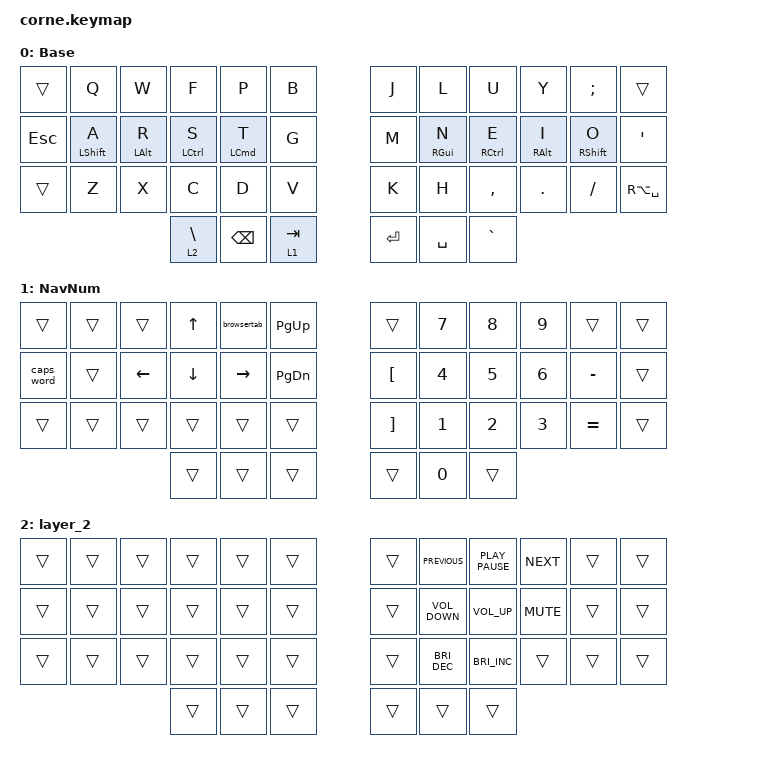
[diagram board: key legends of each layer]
#include <behaviors.dtsi>
#include <dt-bindings/zmk/keys.h>

#define DEF 0
#define NAV 1
#define SYM 2
#define ADJ 3
#define EXTRA 4

/ {
    behaviors {
        hm: homerow_mods {
            compatible = "zmk,behavior-hold-tap";
            #binding-cells = <2>;
            tapping-term-ms = <200>;
            flavor = "tap-preferred";
            bindings = <&kp>, <&kp>;

            quick-tap-ms = <180>;
            require-prior-idle-ms = <120>; /* tune to taste */
        };

        para: para {
            compatible = "zmk,behavior-tap-dance";
            #binding-cells = <0>;
            bindings = <&kp LEFT_PARENTHESIS>, <&kp RIGHT_PARENTHESIS>;
        };

        caps: caps {
            compatible = "zmk,behavior-caps-word";
            #binding-cells = <0>;
            continue-list = <MINUS BACKSPACE>;
        };

        paraless: paraless {
            compatible = "zmk,behavior-mod-morph";
            bindings = <&kp LEFT_PARENTHESIS>, <&kp LESS_THAN>;

            #binding-cells = <0>;
            mods = <(MOD_LSFT)>;
        };

        paragreat: paragreat {
            compatible = "zmk,behavior-mod-morph";
            bindings = <&kp RIGHT_PARENTHESIS>, <&kp GREATER_THAN>;

            #binding-cells = <0>;
            mods = <(MOD_LSFT)>;
        };
    };

    macros {
        browsertab: browsertab {
            compatible = "zmk,behavior-macro";
            #binding-cells = <0>;
            bindings =
                <&macro_press>,
                <&kp LCTRL>,
                <&macro_tap>,
                <&kp TAB>,
                <&macro_release>,
                <&kp LCTRL>;
        };

        zellij_tab_left: zellij_tab_left {
            compatible = "zmk,behavior-macro";
            #binding-cells = <0>;
            bindings =
                <&macro_press>,
                <&kp LC(SPACE)>,
                <&macro_tap>,
                <&kp H>,
                <&macro_release>;

            label = "ZELLIJ_TAB_LEFT";
        };

        zellij_tab_right: zellij_tab_right {
            compatible = "zmk,behavior-macro";
            #binding-cells = <0>;
            bindings =
                <&macro_press>,
                <&kp LC(SPACE)>,
                <&macro_tap>,
                <&kp L>,
                <&macro_release>;

            label = "ZELLIJ_TAB_RIGHT";
        };

        zellij_left: zellij_left {
            compatible = "zmk,behavior-macro";
            #binding-cells = <0>;
            bindings = <&macro_press>, <&kp LC(H)>, <&macro_release>;

            label = "ZELLIJ_LEFT";
        };

        zellij_down: zellij_down {
            compatible = "zmk,behavior-macro";
            #binding-cells = <0>;
            bindings = <&macro_press>, <&kp LC(J)>, <&macro_release>;

            label = "ZELLIJ_DOWN";
        };

        zellij_up: zellij_up {
            compatible = "zmk,behavior-macro";
            #binding-cells = <0>;
            bindings = <&macro_press>, <&kp LC(K)>, <&macro_release>;

            label = "ZELLIJ_UP";
        };

        zellij_right: zellij_right {
            compatible = "zmk,behavior-macro";
            #binding-cells = <0>;
            bindings = <&macro_press>, <&kp LC(L)>, <&macro_release>;

            label = "ZELLIJ_RIGHT";
        };
    };

    combos {
        compatible = "zmk,combos";

        zellij_tab_left {
            bindings = <&zellij_tab_left>;
            key-positions = <16 18 15>;
        };

        zellij_tab_right {
            bindings = <&zellij_tab_right>;
            key-positions = <16 15 21>;
        };

        zellij_left {
            bindings = <&zellij_left>;
            key-positions = <14 16 18>;
        };

        zellij_down {
            bindings = <&zellij_down>;
            key-positions = <14 16 19>;
        };

        zellij_up {
            bindings = <&zellij_up>;
            key-positions = <14 16 20>;
        };

        zellij_right {
            bindings = <&zellij_right>;
            key-positions = <14 16 21>;
        };
    };

    //

    keymap {
        compatible = "zmk,keymap";

        DEF {
            display-name = "Base";

            // -----------------------------------------------------------------------------------------
            // |  Q  |  W  |  E  |  R  |  T  |   |  Y  |  U   |  I  |  O  |  P  |
            // |  A  |  S  |  D  |  F  |  G  |   |  H  |  J   |  K  |  L  |  ;  |
            // |  Z  |  X  |  C  |  V  |  B  |   |  N  |  M   |  ,  |  .  |  /  |
            // | GUI | CTRL | SHFT | LWR | SPC |   | ENT | RSE  | BKSP | ALT | ESC |

            bindings = <
&trans      &kp Q             &kp W           &kp F            &kp P               &kp B        &kp J      &kp L       &kp U        &kp Y            &kp SEMICOLON      &trans
&kp ESCAPE  &hm LEFT_SHIFT A  &hm LEFT_ALT R  &hm LCTRL S      &hm LEFT_COMMAND T  &kp G        &kp M      &hm RGUI N  &hm RCTRL E  &hm RIGHT_ALT I  &hm RIGHT_SHIFT O  &kp SINGLE_QUOTE
&trans      &kp Z             &kp X           &kp C            &kp D               &kp V        &kp K      &kp H       &kp COMMA    &kp DOT          &kp FSLH           &kp RA(SPACE)
                                              &lt 2 BACKSLASH  &kp BACKSPACE       &lt 1 TAB    &kp ENTER  &kp SPACE   &kp GRAVE
            >;
        };

        NAV {
            display-name = "NavNum";

            // -----------------------------------------------------------------------------------------
            // |  TAB |  1  |  2  |  3  |  4  |  5  |   |  6  |  7  |  8  |  9  |  0  | BKSP |
            // | BTCLR| BT1 | BT2 | BT3 | BT4 | BT5 |   | LFT | DWN |  UP | RGT |     |      |
            // | SHFT |     |     |     |     |     |   |     |     |     |     |     |      |
            // | GUI | CTRL | SHFT | LWR | SPC |   | ENT | RSE  | BKSP | ALT | ESC |

            bindings = <
&trans      &trans  &trans          &kp UP_ARROW    &browsertab      &kp PG_UP        &trans             &kp N7  &kp N8  &kp N9  &trans     &trans
&caps_word  &trans  &kp LEFT_ARROW  &kp DOWN_ARROW  &kp RIGHT_ARROW  &kp PAGE_DOWN    &kp LEFT_BRACKET   &kp N4  &kp N5  &kp N6  &kp MINUS  &trans
&trans      &trans  &trans          &trans          &trans           &trans           &kp RIGHT_BRACKET  &kp N1  &kp N2  &kp N3  &kp EQUAL  &trans
                                    &trans          &trans           &trans           &trans             &kp N0  &trans
            >;
        };

        layer_2 {
            bindings = <
&trans  &trans  &trans  &trans  &trans  &trans    &trans  &kp K_PREVIOUS     &kp K_PLAY_PAUSE  &kp K_NEXT  &trans  &trans
&trans  &trans  &trans  &trans  &trans  &trans    &trans  &kp K_VOLUME_DOWN  &kp K_VOLUME_UP   &kp K_MUTE  &trans  &trans
&trans  &trans  &trans  &trans  &trans  &trans    &trans  &kp C_BRI_DEC      &kp C_BRI_INC     &trans      &trans  &trans
                        &trans  &trans  &trans    &trans  &trans             &trans
            >;
        };
    };
};
